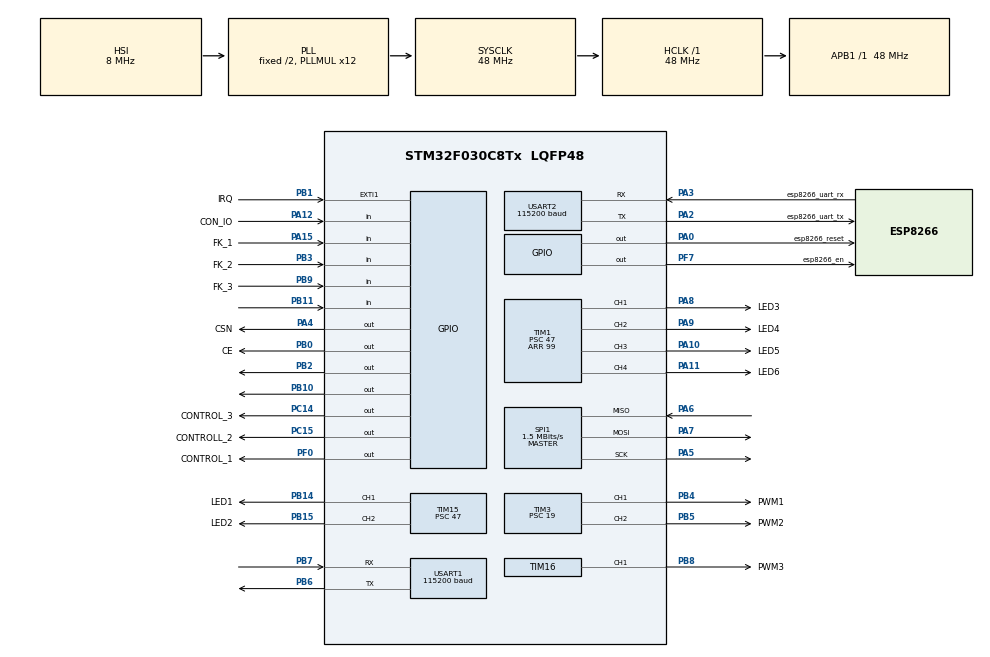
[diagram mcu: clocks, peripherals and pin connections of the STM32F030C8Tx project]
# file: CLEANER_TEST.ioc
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Dma.Request0=USART1_RX
Dma.Request1=USART2_RX
Dma.USART1_RX.0.Direction=DMA_PERIPH_TO_MEMORY
Dma.USART1_RX.0.Instance=DMA1_Channel3
Dma.USART1_RX.0.MemDataAlignment=DMA_MDATAALIGN_BYTE
Dma.USART1_RX.0.MemInc=DMA_MINC_ENABLE
Dma.USART1_RX.0.Mode=DMA_CIRCULAR
Dma.USART1_RX.0.PeriphDataAlignment=DMA_PDATAALIGN_BYTE
Dma.USART1_RX.0.PeriphInc=DMA_PINC_DISABLE
Dma.USART1_RX.0.Priority=DMA_PRIORITY_LOW
Dma.USART2_RX.1.Direction=DMA_PERIPH_TO_MEMORY
Dma.USART2_RX.1.Instance=DMA1_Channel5
Dma.USART2_RX.1.MemDataAlignment=DMA_MDATAALIGN_BYTE
Dma.USART2_RX.1.MemInc=DMA_MINC_ENABLE
Dma.USART2_RX.1.Mode=DMA_CIRCULAR
Dma.USART2_RX.1.PeriphDataAlignment=DMA_PDATAALIGN_BYTE
Dma.USART2_RX.1.PeriphInc=DMA_PINC_DISABLE
Dma.USART2_RX.1.Priority=DMA_PRIORITY_LOW
Mcu.Family=STM32F0
Mcu.Name=STM32F030C8Tx
Mcu.Package=LQFP48
NVIC.DMA1_Channel2_3_IRQn=true\:0\:0\:false\:false\:true
NVIC.DMA1_Channel4_5_IRQn=true\:0\:0\:false\:false\:true
NVIC.TIM14_IRQn=true\:0\:0\:false\:false\:true
PA0.GPIO_Label=esp8266_reset
PA0.Signal=GPIO_Output
PA10.GPIO_Label=LED5
PA10.Signal=S_TIM1_CH3
PA11.GPIO_Label=LED6
PA11.Signal=S_TIM1_CH4
PA12.GPIO_Label=CON_IO
PA12.Signal=GPIO_Input
PA13.Mode=Serial-WireDebug
PA13.Signal=SYS_SWDIO
PA14.Mode=Serial-WireDebug
PA14.Signal=SYS_SWCLK
PA15.GPIO_Label=FK_1
PA15.Signal=GPIO_Input
PA2.GPIO_Label=esp8266_uart_tx
PA2.Mode=Asynchronous
PA2.Signal=USART2_TX
PA3.GPIO_Label=esp8266_uart_rx
PA3.Mode=Asynchronous
PA3.Signal=USART2_RX
PA4.GPIO_Label=CSN
PA4.Signal=GPIO_Output
PA5.Mode=Full_Duplex_Master
PA5.Signal=SPI1_SCK
PA6.Mode=Full_Duplex_Master
PA6.Signal=SPI1_MISO
PA7.Mode=Full_Duplex_Master
PA7.Signal=SPI1_MOSI
PA8.GPIO_Label=LED3
PA8.Signal=S_TIM1_CH1
PA9.GPIO_Label=LED4
PA9.Signal=S_TIM1_CH2
PB0.GPIO_Label=CE
PB0.Signal=GPIO_Output
PB1.GPIO_Label=IRQ
PB1.Signal=GPXTI1
PB10.Signal=GPIO_Output
PB11.Signal=GPIO_Input
PB14.GPIO_Label=LED1
PB14.Signal=S_TIM15_CH1
PB15.GPIO_Label=LED2
PB15.Signal=S_TIM15_CH2
PB2.Signal=GPIO_Output
PB3.GPIO_Label=FK_2
PB3.Signal=GPIO_Input
PB4.GPIO_Label=PWM1
PB4.Signal=S_TIM3_CH1
PB5.GPIO_Label=PWM2
PB5.Signal=S_TIM3_CH2
PB6.Mode=Asynchronous
PB6.Signal=USART1_TX
PB7.Mode=Asynchronous
PB7.Signal=USART1_RX
PB8.GPIO_Label=PWM3
PB8.Signal=S_TIM16_CH1
PB9.GPIO_Label=FK_3
PB9.Signal=GPIO_Input
PC14-OSC32_IN.GPIO_Label=CONTROL_3
PC14-OSC32_IN.Signal=GPIO_Output
PC15-OSC32_OUT.GPIO_Label=CONTROLL_2
PC15-OSC32_OUT.Signal=GPIO_Output
PF0-OSC_IN.GPIO_Label=CONTROL_1
PF0-OSC_IN.Signal=GPIO_Output
PF7.GPIO_Label=esp8266_en
PF7.Signal=GPIO_Output
ProjectManager.HeapSize=0x200
ProjectManager.StackSize=0x400
ProjectManager.TargetToolchain=MDK-ARM V5
RCC.AHBFreq_Value=48000000
RCC.APB1Freq_Value=48000000
RCC.APB1TimFreq_Value=48000000
RCC.HCLKFreq_Value=48000000
RCC.PLLMUL=RCC_PLL_MUL12
RCC.SYSCLKFreq_VALUE=48000000
RCC.SYSCLKSource=RCC_SYSCLKSOURCE_PLLCLK
SH.S_TIM15_CH1.0=TIM15_CH1,PWM Generation1 CH1
SH.S_TIM15_CH2.0=TIM15_CH2,PWM Generation2 CH2
SH.S_TIM16_CH1.0=TIM16_CH1,PWM Generation1 CH1
SH.S_TIM1_CH1.0=TIM1_CH1,PWM Generation1 CH1
SH.S_TIM1_CH2.0=TIM1_CH2,PWM Generation2 CH2
SH.S_TIM1_CH3.0=TIM1_CH3,PWM Generation3 CH3
SH.S_TIM1_CH4.0=TIM1_CH4,PWM Generation4 CH4
SH.S_TIM3_CH1.0=TIM3_CH1,PWM Generation1 CH1
SH.S_TIM3_CH2.0=TIM3_CH2,PWM Generation2 CH2
SPI1.BaudRatePrescaler=SPI_BAUDRATEPRESCALER_32
SPI1.CalculateBaudRate=1.5 MBits/s
SPI1.Mode=SPI_MODE_MASTER
TIM1.Channel-PWM\ Generation2\ CH2=TIM_CHANNEL_2
TIM1.Channel-PWM\ Generation3\ CH3=TIM_CHANNEL_3
TIM1.Channel-PWM\ Generation4\ CH4=TIM_CHANNEL_4
TIM1.Period=99
TIM1.Prescaler=47
TIM1.Pulse-PWM\ Generation1\ CH1=3
TIM1.Pulse-PWM\ Generation2\ CH2=3
TIM1.Pulse-PWM\ Generation3\ CH3=3
TIM1.Pulse-PWM\ Generation4\ CH4=3
TIM14.Period=99
TIM14.Prescaler=47
TIM15.Channel-PWM\ Generation2\ CH2=TIM_CHANNEL_2
TIM15.Period=99
TIM15.Prescaler=47
TIM15.Pulse-PWM\ Generation1\ CH1=3
TIM15.Pulse-PWM\ Generation2\ CH2=3
TIM16.Period=999
TIM16.Prescaler=19
TIM16.Pulse=30
TIM3.Channel-PWM\ Generation2\ CH2=TIM_CHANNEL_2
TIM3.Period=999
TIM3.Prescaler=19
TIM3.Pulse-PWM\ Generation1\ CH1=30
TIM3.Pulse-PWM\ Generation2\ CH2=30
USART1.BaudRate=115200
USART2.BaudRate=115200
VP_TIM14_VS_ClockSourceINT.Mode=Enable_Timer
VP_TIM16_VS_ClockSourceINT.Mode=Enable_Timer
VP_TIM1_VS_ClockSourceINT.Mode=Internal
board=CLEANER_TEST

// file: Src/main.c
/**
  ******************************************************************************
  * File Name          : main.c
  * Description        : Main program body
  ******************************************************************************
  *
  * COPYRIGHT(c) 2016 STMicroelectronics
  *
  * Redistribution and use in source and binary forms, with or without modification,
  * are permitted provided that the following conditions are met:
  *   1. Redistributions of source code must retain the above copyright notice,
  *      this list of conditions and the following disclaimer.
  *   2. Redistributions in binary form must reproduce the above copyright notice,
  *      this list of conditions and the following disclaimer in the documentation
  *      and/or other materials provided with the distribution.
  *   3. Neither the name of STMicroelectronics nor the names of its contributors
  *      may be used to endorse or promote products derived from this software
  *      without specific prior written permission.
  *
  * THIS SOFTWARE IS PROVIDED BY THE COPYRIGHT HOLDERS AND CONTRIBUTORS "AS IS"
  * AND ANY EXPRESS OR IMPLIED WARRANTIES, INCLUDING, BUT NOT LIMITED TO, THE
  * IMPLIED WARRANTIES OF MERCHANTABILITY AND FITNESS FOR A PARTICULAR PURPOSE ARE
  * DISCLAIMED. IN NO EVENT SHALL THE COPYRIGHT HOLDER OR CONTRIBUTORS BE LIABLE
  * FOR ANY DIRECT, INDIRECT, INCIDENTAL, SPECIAL, EXEMPLARY, OR CONSEQUENTIAL
  * DAMAGES (INCLUDING, BUT NOT LIMITED TO, PROCUREMENT OF SUBSTITUTE GOODS OR
  * SERVICES; LOSS OF USE, DATA, OR PROFITS; OR BUSINESS INTERRUPTION) HOWEVER
  * CAUSED AND ON ANY THEORY OF LIABILITY, WHETHER IN CONTRACT, STRICT LIABILITY,
  * OR TORT (INCLUDING NEGLIGENCE OR OTHERWISE) ARISING IN ANY WAY OUT OF THE USE
  * OF THIS SOFTWARE, EVEN IF ADVISED OF THE POSSIBILITY OF SUCH DAMAGE.
  *
  ******************************************************************************
  */
#include "stm32f0xx_hal.h"
#include "dma.h"
#include "spi.h"
#include "tim.h"
#include "usart.h"
#include "gpio.h"

/* USER CODE BEGIN Includes */
#include "Button.h"
#include "Tick.h"
#include "Thread.h"
#include "Dust.h"
#include "CJSON.h"
//#include "esp8266.h"
#include "fpe.h"
#include "stdlib.h"
#include "SIM808.h"
#include "control.h"

/* USER CODE END Includes */

/* USER CODE BEGIN PV */
/* Private variables ---------------------------------------------------------*/
#define FRE_PER_PWM 20
#define FRE_ERROR 30
#define FRE_PWM_MAX_SHIFT 2
#define max(a,b) (((a)<(b))?(b):(a))
#define min(a,b) (((a)>(b))?(b):(a))
#define F_F_1 300  //设为600最好，因为此时不是风扇最低转速，但与最低转速相差不大，故用起来感觉一档转速差别不大；但是其转速差值（更高）是存在的，所以调速程序会起作用
									 //使其在一档时会让净化器度过风扇最初的“PWM波占空比升高不可调速区”，在1档转2档时风俗切换更快（最低档PWM占空比约36%）
#define F_F_2 750
#define F_F_3 1200
#define F_F_4 1650
#define F_F_5 2100
#define F_F_6 2600
/* USER CODE END PV */

void SystemClock_Config(void);

/* USER CODE BEGIN PFP */
/* Private function prototypes -----------------------------------------------*/
/**********************wifi***************************/
//#define getSetting(name) (name?name:name##Default)
//__IO uint32_t g_main_wifi_interval = 600;

//#define AUTO_POWEROFF 1
//#define DEBUG_MODE 0
//#define SYSTEM_AUTOPOFF_MS 600000
//#define RESET_WHILE_NO_DATEGET 60000

//#define FPE_UID_ADDRESS 0x00110000

//#define FPE_NEVERUSED_ADDRESS 0x00001000
//#define MAIN_STATUS_ADDRESS 0x00000100
//#define PM_RATIO_ADDRESS 0x00000200

//#define COMPRESS_BMP 0

////extern __IO uint8_t g_main_status;

//uint32_t g_main_lastWifiTick = RESET_WHILE_NO_DATEGET;
//uint32_t g_main_pairTick = 0;
//__IO uint8_t g_main_pairToDo = 1;
//char* g_main_udpAddressDefault = "www.hwlantian.com";//"172.28.50.1";//
//char* g_main_udpAddress = NULL;
//uint16_t g_main_udpPortDefault = 59830;
//uint16_t g_main_udpPort = 0;
////char* g_main_uidDefault = "M2-B2-1070";
//char* g_main_uidDefault = "M2";
//char* g_main_uid = NULL;
//__IO uint8_t g_main_ssidToDo = 1;
//__IO uint8_t g_main_neverUsed;
//uint32_t g_main_lastResponseTick = (UINT32_MAX - 5000);

//enum wifi_status
//{
//	WIFI_INIT = 0,
//	WIFI_SMARTING,
//	WIFI_REMOTE_ERROR,
//	WIFI_CONNECTED,
//	WIFI_RETRYING,
//	WIFI_NO_AP,
//	WIFI_SERVER_ACK
//};
//__IO uint8_t g_main_wifi_status = WIFI_NO_AP;

//void wifiSmartLinkStarted(void);
//void pairStart(void);
//void updateWifiStatus(void);
//static void updateStringSetting(char* value, char** pCurrent);
//void wifi_response(void);
//void mainThread(void);
/**************************/

/***************SIM808******************/
#define DEVICE_VERSION "JHQ"
#define getSetting(name) (name?name:name##Default)

char* g_main_udpAddressDefault = "123.57.56.40";//"172.28.50.1";//
char* g_main_udpAddress = NULL;
uint16_t g_main_udpPortDefault = 59830;
uint16_t g_main_udpPort = 0;

uint32_t g_main_uploadDataInterval = UPLOAD_DATA_INTERVAL_MS;

bool g_main_gps_updated = false;
bool g_main_pm25_stable = false;
bool g_main_startSleep = false;

static void updateStringSetting(char* value, char** pCurrent);
void sim808_HandleResponse(void);
void mainThread(void);
void check_sleep(void);

/**************************************/
extern dustvalue_t g_firPM ;//extern外部变量声明时，不需要再初始化

__IO int32_t g_FanFrequency = 600;     //1550<=g_FanFrequency<=5500,单位为(转/min)
__IO int32_t fre_1;
__IO int32_t fre_2;
__IO int32_t fre_3;
__IO double fan = 600;
__IO int mode = 2;
__IO bool power = 1;
__IO bool LEDSwitch;
__IO bool buttonNoise;

//__IO ITStatus types = RESET;
//__IO uint32_t PM2D5=g_firPM.PM2D5V;   //单位为(1/100)ug/m3

enum STATUS_ID
{
	STATUS_MODULE= 0,
	STATUS_BUTTON=1,
	STATUS_WIFI=2,
  STATUS_POWEROFF=3,
//	STATUS_CONTROLED=4,
};
enum STATUS_ID last_g_main_status = STATUS_MODULE;
enum STATUS_ID g_main_status = STATUS_MODULE;
__IO uint8_t g_FanFrequency_wifi = 0;

enum BUTTON_IO
{
	BUTTON_DOME = 1,
	BUTTON_TOUCH = 2,
	BUTTON_NUMBER,
};
enum FAN_STATUS_ID
{
	STATUS_ONE_LEVEL = 0,
	STATUS_TWO_LEVEL = 1,
	STATUS_THREE_LEVEL = 2,
	STATUS_FOUR_LEVEL = 3,
	STATUS_FIVE_LEVEL = 4,
	STATUS_SIX_LEVEL = 5,

};

enum FAN_STATUS_ID FAN_STATUS =STATUS_ONE_LEVEL;

/* USER CODE END PFP */

/* USER CODE BEGIN 0 */
void Fan_init(void);
uint8_t isButtonPressed(uint16_t id);
void LED_UNLIGNT(void);
//void onNomalButtonPressed(void ); //正常选择
//void onDoubleButtonPressed(void );//自动选档
void sim_update_examine(void);
//void onHoldButtonPressed(void );  //wifi配置
void onLongHoldButtonPressed(void );	//关机配置

//void auto_updata_click (void); //click状态下刷新转速和指示灯状态
void auto_updata_module (void);//模块自动调节状态下自动刷新转速和指示灯状态
void auto_updata_wifi(void);
void auto_updata_close(void);
void auto_updata_sim(void);

void fan_detect1(void);
void fan_detect2(void);
void fan_detect3(void);

//static void TransmitChar(char ch)
//{
//USART1->TDR = (ch & (uint8_t)0xFF);
//while((USART1->ISR&UART_FLAG_TC)==0)
//;
//}
//void TransmitString(char * input)
//{
//while(1)
//{
//char ch = *(input++);
//if (ch == '\0')
//{
//break;
//}
//TransmitChar(ch);
//}
//}
//void TransmitDec(uint32_t input)
//{
//uint32_t quotient = 0;
//uint32_t divisor = 1000000000UL;
//uint8_t RightJustfy = 1;
//uint8_t showFirstZeros = 0;
//while(divisor>0)
//{
//quotient = (input)/divisor;
//if (quotient>0 || divisor == 1 || RightJustfy)
//{
//char ch = quotient + '0';
//if ((!showFirstZeros && quotient == 0) && divisor != 1)
//{
//ch = 0x20;
//}
//else
//{
//showFirstZeros = 1;
//}
//TransmitChar(ch);
//input -= quotient*divisor;
//RightJustfy = 1;
//}
//divisor/=x10;
//}
//}
/* USER CODE END 0 */

int main(void)
{

  /* MCU Configuration----------------------------------------------------------*/

  /* Reset of all peripherals, Initializes the Flash interface and the Systick. */
  HAL_Init();

  /* Configure the system clock */
  SystemClock_Config();

  /* Initialize all configured peripherals */
  MX_GPIO_Init();
  MX_DMA_Init();
  MX_TIM1_Init();
  MX_TIM15_Init();
  MX_USART2_UART_Init();
  MX_TIM3_Init();
  MX_TIM14_Init();
  MX_TIM16_Init();
  MX_USART1_UART_Init();
  MX_SPI1_Init();

  /* USER CODE BEGIN 2 */
	tick_init(&htim14);
	thread_init(0,tick_ms());
	fpe_init(62,63); //初始化FLASH

	HAL_TIM_PWM_Start(&htim3,TIM_CHANNEL_1);
	HAL_TIM_PWM_Start(&htim3,TIM_CHANNEL_2);
	HAL_TIM_PWM_Start(&htim16,TIM_CHANNEL_1);
	HAL_TIM_PWM_Start(&htim1,TIM_CHANNEL_1);  //LED3 蓝，初始亮灯
	Fan_init();

	button_init(BUTTON_DOME,isButtonPressed);
//	button_addListener(BUTTON_DOME,BUTTON_STATUS_CLICKED_NO_NEXT,onNomalButtonPressed,0);//正常选择
//	button_addListener(BUTTON_DOME,BUTTON_STATUS_DOUBLE_CLICKED,onDoubleButtonPressed,0);//自动选档
//	button_addListener(BUTTON_DOME,BUTTON_STATUS_HOLD,onHoldButtonPressed,0);						 //wifi配置
	button_addListener(BUTTON_DOME,BUTTON_STATUS_LONG_HOLD,onLongHoldButtonPressed,0);	 //关机配置

	thread_quickAdd(0,button_run,10,0,0);//在程序运行的第一遍是不运行的，是由于execute函数貌似不运行
//	thread_quickAdd(0,auto_updata_click,100,0,0);
	thread_quickAdd(0,auto_updata_module,100,0,0);
//	thread_quickAdd(0,auto_updata_wifi,100,0,0);
	thread_quickAdd(0,auto_updata_close,100,0,0);
	thread_quickAdd(0,dust_update,1000,1,0);
	thread_quickAdd(0,sim_update_examine,1000,1,0);
	thread_quickAdd(0,auto_updata_sim,1000,1,0);

//	thread_quickAdd(0,wifi_response,1000,0,0);//检测是否有服务器传输回来文件（模块同时向主芯片传送），若此传输回来，通过CJSON中的格式解析JSON包，获取数据
//	thread_quickAdd(0,mainThread,1000,0,0);
//	thread_quickAdd(0,esp8266_run,10,1,0);
//	thread_quickAdd(0,updateWifiStatus,1000,1,0);//检查smart link的状态

	thread_quickAdd(0,sim808_HandleResponse,100,0,0); //接受并分析数据
	thread_quickAdd(0,sim808_UpdateStatus,1000,0,0);
	thread_quickAdd(0,mainThread,5000,0,0);
	thread_quickAdd(0,sim808_run,10,0,0);

	tick_add(button_tick,10);
	tick_add(fan_detect1,1);
	tick_add(fan_detect2,1);
	tick_add(fan_detect3,1);//原来认为他会卡住

	tick_start();

	PM2D5_init();
	sim808_init(&huart2);//wait to init successfully.
//	esp8266_init(&huart2);
//	HAL_GPIO_WritePin(GPIOF,GPIO_PIN_7,GPIO_PIN_SET);
  /* USER CODE END 2 */

  /* Infinite loop */
  while (1)
  {

  /* USER CODE BEGIN 3 */
		thread_run(0,tick_ms(),0,0);
  }
  /* USER CODE END 3 */

}

/** System Clock Configuration
*/
void SystemClock_Config(void)
{

  RCC_OscInitTypeDef RCC_OscInitStruct;
  RCC_ClkInitTypeDef RCC_ClkInitStruct;
  RCC_PeriphCLKInitTypeDef PeriphClkInit;

  RCC_OscInitStruct.OscillatorType = RCC_OSCILLATORTYPE_HSI;
  RCC_OscInitStruct.HSIState = RCC_HSI_ON;
  RCC_OscInitStruct.HSICalibrationValue = 16;
  RCC_OscInitStruct.PLL.PLLState = RCC_PLL_ON;
  RCC_OscInitStruct.PLL.PLLSource = RCC_PLLSOURCE_HSI;
  RCC_OscInitStruct.PLL.PLLMUL = RCC_PLL_MUL12;
  RCC_OscInitStruct.PLL.PREDIV = RCC_PREDIV_DIV1;
  HAL_RCC_OscConfig(&RCC_OscInitStruct);

  RCC_ClkInitStruct.ClockType = RCC_CLOCKTYPE_HCLK|RCC_CLOCKTYPE_SYSCLK
                              |RCC_CLOCKTYPE_PCLK1;
  RCC_ClkInitStruct.SYSCLKSource = RCC_SYSCLKSOURCE_PLLCLK;
  RCC_ClkInitStruct.AHBCLKDivider = RCC_SYSCLK_DIV1;
  RCC_ClkInitStruct.APB1CLKDivider = RCC_HCLK_DIV1;
  HAL_RCC_ClockConfig(&RCC_ClkInitStruct, FLASH_LATENCY_1);

  PeriphClkInit.PeriphClockSelection = RCC_PERIPHCLK_USART1;
  PeriphClkInit.Usart1ClockSelection = RCC_USART1CLKSOURCE_PCLK1;
  HAL_RCCEx_PeriphCLKConfig(&PeriphClkInit);

  HAL_SYSTICK_Config(HAL_RCC_GetHCLKFreq()/1000);

  HAL_SYSTICK_CLKSourceConfig(SYSTICK_CLKSOURCE_HCLK);

  /* SysTick_IRQn interrupt configuration */
  HAL_NVIC_SetPriority(SysTick_IRQn, 0, 0);
}

/* USER CODE BEGIN 4 */
void Fan_init(void)
{
		if(g_main_status!=3)
		{
			HAL_GPIO_WritePin(GPIOF,GPIO_PIN_0,GPIO_PIN_SET);//打开风扇
			HAL_GPIO_WritePin(GPIOC,GPIO_PIN_15,GPIO_PIN_SET);
			HAL_GPIO_WritePin(GPIOC,GPIO_PIN_14,GPIO_PIN_SET);
		}
		else
		{
			HAL_GPIO_WritePin(GPIOF,GPIO_PIN_0,GPIO_PIN_RESET);
			HAL_GPIO_WritePin(GPIOC,GPIO_PIN_15,GPIO_PIN_RESET);
			HAL_GPIO_WritePin(GPIOC,GPIO_PIN_14,GPIO_PIN_RESET);
		}
}
uint8_t isButtonPressed(uint16_t id)//返回1和0,1表示按下，0表示未按下。所以当按键正常为1而按下为0时，应该取反
{																		//通过 HAL_GPIO_ReadPin(GPIOA,GPIO_PIN_12)确定按键的按下
	switch(id)
	{
		case BUTTON_DOME:
			return HAL_GPIO_ReadPin(GPIOA,GPIO_PIN_12);
		case BUTTON_NUMBER:
			return 0;
		case BUTTON_TOUCH:
			return 0;
	}
	return 0;
}
void LED_UNLIGNT()    //全灭LED灯
{
	HAL_TIM_PWM_Stop(&htim1,TIM_CHANNEL_1);  //LED3 蓝
	HAL_TIM_PWM_Stop(&htim15,TIM_CHANNEL_1);  //LED1 绿
	HAL_TIM_PWM_Stop(&htim15,TIM_CHANNEL_2);  //LED2 红
	HAL_TIM_PWM_Stop(&htim1,TIM_CHANNEL_4);  //LED6 蓝
	HAL_TIM_PWM_Stop(&htim1,TIM_CHANNEL_2); //LED4 绿
	HAL_TIM_PWM_Stop(&htim1,TIM_CHANNEL_3); //LED5 红
//	HAL_TIM_PWM_Stop(&htim17,TIM_CHANNEL_1);  //LED9 蓝
//	HAL_TIM_PWM_Stop(&htim3,TIM_CHANNEL_1);  //LED7 绿
//	HAL_TIM_PWM_Stop(&htim16,TIM_CHANNEL_1);  //LED8 红
}

//void onNomalButtonPressed()      //正常选择
//{
//	if (g_main_status==1)                    //只有在为正常按键模式下，才会有响应
//	{
//		if (FAN_STATUS<5)
//			FAN_STATUS++;
//		else
//			FAN_STATUS=STATUS_ONE_LEVEL;
//	}
//}

//void onDoubleButtonPressed( )     	  //自动选档
//{
////	status_change(1);
//	if(g_main_status<2)//若小于等于2，则会使g_main_status存在=3的状态
//		{	g_main_status++;
//			g_FanFrequency=F_F_1;
//		}
//	else if (g_main_status==2)
//		{	g_main_status=STATUS_MODULE;
//			g_FanFrequency=F_F_1;
//		}
//}

void sim_update_examine(void)
{
	if(power == 0)
	{
		g_main_status = STATUS_POWEROFF;
	}
	else if(power == 1)
	{
		if(mode == 1)
		{
			g_main_status = STATUS_BUTTON;
		}
		else if (mode == 2)
		{
			g_main_status = STATUS_MODULE;
		}

	}
}

//void onHoldButtonPressed(void ) //wifi配置
//{
////	status_change(2);
//	if (g_main_status == 2)//
//	{
////		g_FanFrequency = 0; //使转速为零，确保wifi的状态监测及处理不会在wifi smart link状态下亮表示转速的灯
//		esp8266_smart(60000);	//只是配置wifi，与pair配对是完全不同的两个过程；按照方式3模块通讯，若通讯成功，则置wifi配置位为1.g_esp8266_smartTick是用来作为超时限定的
//													//注意：与pair配对无关
//		updateWifiStatus();   //可删去，只是起连通wifi后迅速刷新状态的作用
//	}
//}

void onLongHoldButtonPressed(void)
{
		if(g_main_status!=3)
		{
			last_g_main_status=g_main_status;
			g_main_status=STATUS_POWEROFF;
		}
		else
		{
			g_main_status = last_g_main_status;
		}
}

void auto_updata_module (void)
{
//	HAL_GetTick();
	if(g_main_status == 0)	         	//模块自动档函数持续运行，直到再次双击使g_main_status改变
	{																	//锁定为模块自动调节状态，单独按一下无响应（状态互换加上状态选取，选取在互换后为1的状态运行模块自动档函数）
		LED_UNLIGNT();                  //只有在id为1的情况，也就是双击模式开启的情况下，每次更新LED状态前都有重置一下
		HAL_GPIO_WritePin(GPIOF,GPIO_PIN_0,GPIO_PIN_SET);//打开风扇
		HAL_GPIO_WritePin(GPIOC,GPIO_PIN_15,GPIO_PIN_SET);
		HAL_GPIO_WritePin(GPIOC,GPIO_PIN_14,GPIO_PIN_SET);
		if (g_firPM.PM2D5V<=3500)
			{
				g_FanFrequency=F_F_1;
				HAL_TIM_PWM_Start(&htim1,TIM_CHANNEL_1);  //LED3 蓝
			}
		else if(g_firPM.PM2D5V<=7500 &&g_firPM.PM2D5V>3500)
			{
				g_FanFrequency=F_F_2;
				HAL_TIM_PWM_Start(&htim1,TIM_CHANNEL_1);  //LED3 蓝
				HAL_TIM_PWM_Start(&htim1,TIM_CHANNEL_4);  //LED6 蓝
			}
		else if(g_firPM.PM2D5V<=11500 && g_firPM.PM2D5V>7500)
			{
				g_FanFrequency=F_F_3;
				HAL_TIM_PWM_Start(&htim15,TIM_CHANNEL_1); //LED1 绿
			}
		else if(g_firPM.PM2D5V<=15000 && g_firPM.PM2D5V>11500)
			{
				g_FanFrequency=F_F_4;
				HAL_TIM_PWM_Start(&htim15,TIM_CHANNEL_1); //LED1 绿
				HAL_TIM_PWM_Start(&htim1,TIM_CHANNEL_2);  //LED4 绿
			}
		else if(g_firPM.PM2D5V<=25000 && g_firPM.PM2D5V>15000)
			{
				g_FanFrequency=F_F_5;
				HAL_TIM_PWM_Start(&htim15,TIM_CHANNEL_2); //LED2 红
			}
		else
			{
				g_FanFrequency=F_F_6;
				HAL_TIM_PWM_Start(&htim15,TIM_CHANNEL_2); //LED2 红
				HAL_TIM_PWM_Start(&htim1,TIM_CHANNEL_3);  //LED5 红
			}
	}
}

//void auto_updata_click (void)
//{
//	if (g_main_status==1)                    //只有在为正常按键模式下，才会有响应
//	{
//		LED_UNLIGNT();
//		HAL_GPIO_WritePin(GPIOF,GPIO_PIN_0,GPIO_PIN_SET);//打开风扇
//		HAL_GPIO_WritePin(GPIOC,GPIO_PIN_15,GPIO_PIN_SET);
//		HAL_GPIO_WritePin(GPIOC,GPIO_PIN_14,GPIO_PIN_SET);

//		switch(FAN_STATUS)
//		{
//			case 0:g_FanFrequency=F_F_1;
//							HAL_TIM_PWM_Start(&htim1,TIM_CHANNEL_1);  //LED3 蓝
//							break;
//			case 1:g_FanFrequency=F_F_2;
//							HAL_TIM_PWM_Start(&htim1,TIM_CHANNEL_1);  //LED3 蓝
//							HAL_TIM_PWM_Start(&htim1,TIM_CHANNEL_4);  //LED6 蓝
//							break;
//			case 2:g_FanFrequency=F_F_3;
//							HAL_TIM_PWM_Start(&htim15,TIM_CHANNEL_1); //LED1 绿
//							break;
//			case 3:g_FanFrequency=F_F_4;
//							HAL_TIM_PWM_Start(&htim15,TIM_CHANNEL_1); //LED1 绿
//							HAL_TIM_PWM_Start(&htim1,TIM_CHANNEL_2);  //LED4 绿
//							break;
//			case 4:g_FanFrequency=F_F_5;
//							HAL_TIM_PWM_Start(&htim15,TIM_CHANNEL_2); //LED2 红
//							break;
//			case 5:g_FanFrequency=F_F_6;
//							HAL_TIM_PWM_Start(&htim15,TIM_CHANNEL_2); //LED2 红
//							HAL_TIM_PWM_Start(&htim1,TIM_CHANNEL_3);  //LED5 红
//							break;
//		}
//	}
//}

//void auto_updata_wifi(void)
//{
//	if(g_main_status == 2)
//	{
//		LED_UNLIGNT();
//		HAL_GPIO_WritePin(GPIOF,GPIO_PIN_0,GPIO_PIN_SET);//打开风扇
//		HAL_GPIO_WritePin(GPIOC,GPIO_PIN_15,GPIO_PIN_SET);
//		HAL_GPIO_WritePin(GPIOC,GPIO_PIN_14,GPIO_PIN_SET);//这里若不使控制引脚（control）置一，则其为浮空，不能使风扇转动
//		g_FanFrequency == g_FanFrequency_wifi;
//
//		switch(g_FanFrequency)
//		{
//			case F_F_1:
//							HAL_TIM_PWM_Start(&htim1,TIM_CHANNEL_1);  //LED3 蓝
//							break;
//			case F_F_2:
//							HAL_TIM_PWM_Start(&htim1,TIM_CHANNEL_1);  //LED3 蓝
//							HAL_TIM_PWM_Start(&htim1,TIM_CHANNEL_4);  //LED6 蓝
//							break;
//			case F_F_3:
//							HAL_TIM_PWM_Start(&htim15,TIM_CHANNEL_1); //LED1 绿
//							break;
//			case F_F_4:
//							HAL_TIM_PWM_Start(&htim15,TIM_CHANNEL_1); //LED1 绿
//							HAL_TIM_PWM_Start(&htim1,TIM_CHANNEL_2);  //LED4 绿
//							break;
//			case F_F_5:
//							HAL_TIM_PWM_Start(&htim15,TIM_CHANNEL_2); //LED2 红
//							break;
//			case F_F_6:
//							HAL_TIM_PWM_Start(&htim15,TIM_CHANNEL_2); //LED2 红
//							HAL_TIM_PWM_Start(&htim1,TIM_CHANNEL_3);  //LED5 红
//							break;
//		}
//	}
//}

void auto_updata_close(void)
{
	if(g_main_status == 3)
	{
		LED_UNLIGNT();
		HAL_GPIO_WritePin(GPIOF,GPIO_PIN_0,GPIO_PIN_RESET);
		HAL_GPIO_WritePin(GPIOC,GPIO_PIN_15,GPIO_PIN_RESET);
		HAL_GPIO_WritePin(GPIOC,GPIO_PIN_14,GPIO_PIN_RESET);
	}
}

void auto_updata_sim(void)
{
	if(g_main_status == STATUS_BUTTON)
	{
		LED_UNLIGNT();
		HAL_GPIO_WritePin(GPIOF,GPIO_PIN_0,GPIO_PIN_SET);//打开风扇
		HAL_GPIO_WritePin(GPIOC,GPIO_PIN_15,GPIO_PIN_SET);
		HAL_GPIO_WritePin(GPIOC,GPIO_PIN_14,GPIO_PIN_SET);//这里若不使控制引脚（control）置一，则其为浮空，不能使风扇转动
		g_FanFrequency = fan;

		if (g_FanFrequency<=F_F_1)
			{
				HAL_TIM_PWM_Start(&htim1,TIM_CHANNEL_1);  //LED3 蓝
			}
		else if(g_FanFrequency<=F_F_2)
			{
				HAL_TIM_PWM_Start(&htim1,TIM_CHANNEL_1);  //LED3 蓝
				HAL_TIM_PWM_Start(&htim1,TIM_CHANNEL_4);  //LED6 蓝
			}
		else if(g_FanFrequency<=F_F_3)
			{
				HAL_TIM_PWM_Start(&htim15,TIM_CHANNEL_1); //LED1 绿
			}
		else if(g_FanFrequency<=F_F_4)
			{
				HAL_TIM_PWM_Start(&htim15,TIM_CHANNEL_1); //LED1 绿
				HAL_TIM_PWM_Start(&htim1,TIM_CHANNEL_2);  //LED4 绿
			}
		else if(g_FanFrequency<=F_F_5)
			{
				HAL_TIM_PWM_Start(&htim15,TIM_CHANNEL_2); //LED2 红
			}
		else
			{
				HAL_TIM_PWM_Start(&htim15,TIM_CHANNEL_2); //LED2 红
				HAL_TIM_PWM_Start(&htim1,TIM_CHANNEL_3);  //LED5 红
			}
	}
}

void fan_detect1()
{
static uint32_t all = 0;
static uint32_t times = 0;
static uint16_t lasthigh = 0;
uint16_t high = 0;

if((GPIOA->IDR & GPIO_PIN_15) == 0)
{

	high = 1;
}
else
{
	high = 0;
}
all ++;
if(high != lasthigh )
{
	lasthigh = high;  //从这里lasthign得到了上一个hign的值
	times ++;                  //若想知道程序运行处的时间，可以看TIM1定时器的CNT寄存器，由于TIM1的预分频器PSC=47，则可计算为1S/48M*(47+1)=1us
														 //即CNT为程序运行微秒数
}
if(times == 8 || all > 2000)//此处接收反馈回来的信号，times在反馈信号发生一次转变时加一，即以此时的风扇频率初始状态50%——108Hz为例，
														//一次反转时间为1S/108/2=4.6ms；而all值取决于：tick_add(fan_detect1,1)中的1代表100us（由tim14的47、99可知），也就是说一次检测耗时100us；
														//这里的all是8次转换的最多耗时，由示波器可知在最低档，8次转换最多耗时200ms，也就是200*1000/100=2000次检测，故all=2000；
{
	//int32_t fre = times*UINT32_C(500)/all;//所测出的频率与实际输入频率比值约为5
	fre_1 = times*UINT32_C(150000)/all;//公式的确定是由：反馈波一次转换耗时=all*100/times  ==>  风扇转一周耗时=all*100*4/times  ==》  风扇60秒转的周数=60*1 000 000/风扇转一周耗时
																	 //===>>fre=150000*times/all

	times = 0;
	all = 0;
	__IO int32_t deltaFre = (int32_t)g_FanFrequency - fre_1;//为了达到所需要的频率g_FanFrequency,需要从实际频率fre改变的频率值为deltaFre
//	static int32_t deltaFre_last = 0;
	__IO int32_t ccr = TIM3->CCR1;                            //而g_FanFrequency为要求的风扇转速（转/min），即*2/60
	__IO int32_t total = TIM3->ARR;
//	TransmitDec(fre);
//	TransmitChar(',');
//	TransmitDec(ccr);
//	TransmitChar('\n');
//deltaFreSum += deltaFre;
//	if (abs(deltaFre)>50)
//	{
//	ccr += ( deltaFre * 1  ) /FRE_PER_PWM ;
//	}
//	deltaFreLast = deltaFre;
//	ccr = 459;
//	else
//	{
//	ccr += ( deltaFre * 1 + deltaFreSum*0.01) /FRE_PER_PWM ;
//	}

	if(deltaFre < -FRE_ERROR)
	{

		//deltaFre +=FRE_PER_PWM - FRE_ERROR;
//		if ((deltaFre)>-200)
//		{
//		  int32_t KdErr = deltaFre + deltaFre_last;
//		ccr +=max((deltaFre+KdErr)/FRE_PER_PWM,-(total>>FRE_PWM_MAX_SHIFT));//-(total>>FRE_PWM_MAX_SHIFT)限制风扇一次调速不可超过1/4个ARR
			ccr +=max(deltaFre/FRE_PER_PWM,-(total>>FRE_PWM_MAX_SHIFT));//-(total>>FRE_PWM_MAX_SHIFT)限制风扇一次调速不可超过1/4个ARR
//		}
//		else
//		{
//		ccr +=max(deltaFre/FRE_PER_PWM,-(total>>FRE_PWM_MAX_SHIFT));
//		}

//		ccr -=min(deltaFre/FRE_PER_PWM-1,(total>>FRE_PWM_MAX_SHIFT));
		// deltaFre +=49;
		// ccr +=deltaFre/50;
	}
	else if (deltaFre > FRE_ERROR)
	{
//		if ((deltaFre)<200)
//		{
//		 int32_t KdErr = deltaFre + deltaFre_last;
			ccr +=min((deltaFre)/FRE_PER_PWM,total>>FRE_PWM_MAX_SHIFT);
//		}
//		else
//		{
//			__IO int32_t a = (deltaFre)/FRE_PER_PWM;
//			__IO int32_t b = (total>>FRE_PWM_MAX_SHIFT);
//			ccr +=min(a,b);
//		}
		//deltaFre -=FRE_PER_PWM - FRE_ERROR;
	//	ccr +=min(-deltaFre/FRE_PER_PWM,total>>FRE_PWM_MAX_SHIFT);
		// deltaFre -=40;
		// ccr +=deltaFre/50;
	}
//	deltaFre_last = deltaFre;
	ccr = max(0,min(total,ccr));
	TIM3->CCR1= ccr ;
	}
}

void fan_detect2()
{
static uint32_t all = 0;
static uint32_t times = 0;
static uint16_t lasthigh = 0;
uint16_t high = 0;

if((GPIOB->IDR & GPIO_PIN_3) == 0)
{

	high = 1;
}
else
{
	high = 0;
}
all ++;
if(high != lasthigh )
{
	lasthigh = high;  //从这里lasthign得到了上一个hign的值
	times ++;                  //若想知道程序运行处的时间，可以看TIM1定时器的CNT寄存器，由于TIM1的预分频器PSC=47，则可计算为1S/48M*(47+1)=1us
														 //即CNT为程序运行微秒数
}
if(times == 8 || all > 2000)//此处接收反馈回来的信号，times在反馈信号发生一次转变时加一，即以此时的风扇频率初始状态50%——108Hz为例，
														 //一次反转时间为1S/108/2=4.6ms；而all在
{
	fre_2 = times*UINT32_C(150000)/all;
	times = 0;
	all = 0;
	// int32_t targetFre = 4000;
	__IO int32_t deltaFre = (int32_t)g_FanFrequency - fre_2 ;//为了达到所需要的频率g_FanFrequency,需要从实际频率fre改变的频率值为deltaFre
//	static int32_t deltaFre_last = 0;
	__IO int32_t ccr = TIM3->CCR2 ;                            //而g_FanFrequency为要求的风扇转速（转/min），即*2/60
	__IO int32_t total = TIM3->ARR;

	if(deltaFre < -FRE_ERROR)
	{
//		  int32_t KdErr = deltaFre + deltaFre_last;
//		  ccr +=max((deltaFre+KdErr)/FRE_PER_PWM,-(total>>FRE_PWM_MAX_SHIFT));//-(total>>FRE_PWM_MAX_SHIFT)限制风扇一次调速不可超过1/4个ARR
			ccr +=max(deltaFre/FRE_PER_PWM,-(total>>FRE_PWM_MAX_SHIFT));//-(total>>FRE_PWM_MAX_SHIFT)限制风扇一次调速不可超过1/4个ARR
	}
	else if (deltaFre > FRE_ERROR)
	{
//		 int32_t KdErr = deltaFre + deltaFre_last;
		 ccr +=min((deltaFre)/FRE_PER_PWM,total>>FRE_PWM_MAX_SHIFT);
	}
	ccr = max(0,min(total,ccr));
	TIM3->CCR2 = ccr ;
	}
}

void fan_detect3()
{
static uint32_t all = 0;
static uint32_t times = 0;
static uint16_t lasthigh = 0;
uint16_t high = 0;

if((GPIOB->IDR & GPIO_PIN_9) == 0)
{

	high = 1;
}
else
{
	high = 0;
}
all ++;
if(high != lasthigh )
{
	lasthigh = high;  //从这里lasthign得到了上一个hign的值
	times ++;                  //若想知道程序运行处的时间，可以看TIM1定时器的CNT寄存器，由于TIM1的预分频器PSC=47，则可计算为1S/48M*(47+1)=1us
														 //即CNT为程序运行微秒数
}
if(times == 8 || all > 2000)//此处接收反馈回来的信号，times在反馈信号发生一次转变时加一，即以此时的风扇频率初始状态50%——108Hz为例，
														 //一次反转时间为1S/108/2=4.6ms；而all在
{
	fre_3 = times*UINT32_C(150000)/all;
	times = 0;
	all = 0;
	__IO int32_t deltaFre = (int32_t)g_FanFrequency - fre_3;//为了达到所需要的频率g_FanFrequency,需要从实际频率fre改变的频率值为deltaFre
//	static int32_t deltaFre_last = 0;
	__IO int32_t ccr = TIM16->CCR1 ;                            //而g_FanFrequency为要求的风扇转速（转/min），即*2/60
	__IO int32_t total = TIM16->ARR;

	if(deltaFre < -FRE_ERROR)
	{
//		  int32_t KdErr = deltaFre + deltaFre_last;
//		  ccr +=max((deltaFre+KdErr)/FRE_PER_PWM,-(total>>FRE_PWM_MAX_SHIFT));//-(total>>FRE_PWM_MAX_SHIFT)限制风扇一次调速不可超过1/4个ARR
			ccr +=max(deltaFre/FRE_PER_PWM,-(total>>FRE_PWM_MAX_SHIFT));//-(total>>FRE_PWM_MAX_SHIFT)限制风扇一次调速不可超过1/4个ARR
	}
	else if (deltaFre > FRE_ERROR)
	{
//		 int32_t KdErr = deltaFre + deltaFre_last;
		 ccr +=min((deltaFre)/FRE_PER_PWM,total>>FRE_PWM_MAX_SHIFT);
	}
	ccr = max(0,min(total,ccr));
	TIM16->CCR1 = ccr ;
	}
}

//void updateWifiStatus(void)
//{
//	if (g_main_status == STATUS_POWEROFF) //POWEROFF是 是表示切断电源应属于枚举类型STATUS_ID的一员，而不是像onPowerButtonPressed这个函数一样相应wifi的启动
//	{
//		return;
//	}
//	uint8_t status = esp8266_getStatus();
//if (g_main_status == STATUS_WIFI)
//{
//	LED_UNLIGNT();
//	switch(status)
//	{
//		case 1: //smart link
//		{
//	HAL_TIM_PWM_Start(&htim1,TIM_CHANNEL_1);  //LED3 蓝
//	HAL_TIM_PWM_Start(&htim1,TIM_CHANNEL_4);  //LED6 蓝
//		//	setLedList(LED_LIST_RAINBOW,sizeof(LED_LIST_RAINBOW)>>2,5000);
//			g_main_wifi_status = WIFI_SMARTING;
//			break;
//		}
//		case 3: //connceted
//		case 4: //unconncet
//		{
//
//			if (g_main_lastResponseTick+5000 - tick_ms() < (UINT32_MAX>>1))//服务器最后回复模块的时间与现在的时间相差不到5秒，即5000ms；随后回复时刻加上五秒减去现在时刻若为正值，则正常，
//																																		 //	若为负值，其补码为无穷大，故这样<(UINT32_MAX>>1)
//			{
////				if (g_main_requestLedList && g_main_requestLedListSize && g_main_requestLedListTime)
////				{
////					setLedList(g_main_requestLedList,g_main_requestLedListSize,g_main_requestLedListTime);
////				}
////				else
////				{
////					setLedList(LED_LIST_GREEN_BREATH,sizeof(LED_LIST_GREEN_BREATH)>>2,3000);
////				}
//				g_main_wifi_status = WIFI_SERVER_ACK;
//				HAL_TIM_PWM_Start(&htim15,TIM_CHANNEL_1);  //LED1 绿
//				HAL_TIM_PWM_Start(&htim15,TIM_CHANNEL_2);  //LED2 红
//				HAL_TIM_PWM_Start(&htim1,TIM_CHANNEL_1);   //LED3 蓝
//
//				if ( g_main_neverUsed )
//				{
//					fpe_write(FPE_NEVERUSED_ADDRESS,0);
//					g_main_neverUsed = 0;
//				}
//			}
//			else
//			{
//				if (status == 3)
//				{

//				g_main_wifi_status = WIFI_CONNECTED;
//				HAL_TIM_PWM_Start(&htim15,TIM_CHANNEL_1);  //LED1 绿
//				}
//				else
//				{
//				g_main_wifi_status = WIFI_REMOTE_ERROR;
//				HAL_TIM_PWM_Start(&htim15,TIM_CHANNEL_2);  //LED2 红
//				}
//				//setLedList(LED_LIST_YELLOW_BLINK,sizeof(LED_LIST_YELLOW_BLINK)>>2,200);
//
//			}
//			break;
//		}
//		case 5: //no wifi
//		{
//			g_main_wifi_status = WIFI_NO_AP;
//			HAL_TIM_PWM_Start(&htim1,TIM_CHANNEL_3); //LED5 红
//			//setLedList(LED_LIST_BLUE_BLINK,sizeof(LED_LIST_BLUE_BLINK)>>2,200);
//			break;
//		}
//		case 2: //no wifi
//		{
//			g_main_wifi_status = WIFI_REMOTE_ERROR;;
//			//setLedList(LED_LIST_BLUE_BLINK,sizeof(LED_LIST_BLUE_BLINK)>>2,200);
//			break;
//		}
//	}
//}
//}
//static void updateStringSetting(char* value, char** pCurrent)
//{
//	if (*pCurrent)
//	{
//		free(*pCurrent);
//	}
//	if (strlen(value) == 0)
//	{
//		*pCurrent = NULL;
//	}
//	else
//	{
//		char* copy = malloc(strlen(value)+1);
//		if (copy)
//		{
//			strcpy(copy,value);
//			*pCurrent = copy;
//		}
//	}
//}

//void wifi_response(void)                     //解析wifi模块向板子发送的CJSON包
//{
//	if (g_main_status == STATUS_POWEROFF)
//	{
//		return;
//	}
//	char* receive = esp8266_getReceiveString();
//	if (!receive)
//	{
//		if(tick_ms() - g_main_lastWifiTick < (UINT32_MAX>>1))
//		{
//			if (!esp8266_smarting())//
//			{
//				esp8266_reset();
//				g_main_lastWifiTick = tick_ms() + RESET_WHILE_NO_DATEGET;
//			}
//		}
//	}
//	else
//	{
//		g_main_lastWifiTick = tick_ms() + RESET_WHILE_NO_DATEGET;
//	}
//	if (receive)
//	{
//		cJSON* json = cJSON_Parse(receive);
//		if(json)
//		{
//			g_main_lastResponseTick = tick_ms();
//			cJSON* child;
//			child = cJSON_GetObjectItem(json,"udpAddress");
//			if (child)
//			{
//				updateStringSetting(child->valuestring, &g_main_udpAddress);
//			}
//
//			child = cJSON_GetObjectItem(json,"udpPort");
//			if (child)
//			{
//				g_main_udpPort = child->valueint;
//			}
////			/************接收从WIFI模块传输过来的风扇转速************/
////			child = cJSON_GetObjectItem(json,"fanFrequency");          //得出风扇转速，wifi应该在传输中断后风扇转速不再更新
////			if (child)
////			{
////				g_FanFrequency = child->valueint;
////			}
////			/*****************************/
//			child = cJSON_GetObjectItem(json,"setUid");
//			if (child)
//			{
//				updateStringSetting(child->valuestring, &g_main_uid);
//				char* uid = child->valuestring;
//				fpe_writeString(FPE_UID_ADDRESS,uid);//记录UID到单片机内存中，再次启动就提取就行
//			}
//			if (g_main_pairToDo)
//			{
//				child = cJSON_GetObjectItem(json,"pairConfirmed");
//				if (child)
//				{
//					int16_t confirmed = child->valueint;
//					int16_t pairTick = tick_ms() - g_main_pairTick;
//					if (abs(confirmed-pairTick)<1000)
//					{
//						g_main_pairToDo = 0;
//					}
//				}
//			}
//			if (g_main_ssidToDo)
//			{
//				child = cJSON_GetObjectItem(json,"ssidConfirmed");
//				if (child)
//				{
//					char* confirmed = child->valuestring;
//					char* ssid = esp8266_getSSID();
//					if (strcmp(confirmed,ssid) == 0)
//					{
//						g_main_ssidToDo = 0;
//					}
//				}
//			}
//
//						child = cJSON_GetObjectItem(json,"setInterval");
//			uint32_t interval = 0;
//			if (child)
//			{
//				interval = child->valueint;//1 to 10s
//			}
//			if (interval>=1000)
//			{
//				if (interval != g_main_wifi_interval)// || g_main_wifi_status != WIFI_CONNECT)WIFI_CONNECTED
//				{
//					g_main_wifi_interval = interval;
//					thread_remove(0,mainThread);
//					thread_t* t = (thread_t*) malloc(sizeof(thread_t));
//					t->priority = 0;
//					t->remainTimes = 0;
//					t->executeTick = tick_ms()+g_main_wifi_interval;
//					t->function = mainThread;
//					t->intervalTick = g_main_wifi_interval;
//					t->minNeedTick = 0;
//					t->next = NULL;
//					if (thread_add(0,t,esp8266_run) == 0)
//					{
//						free(t);
//					}
//				//	g_main_wifi_getDelay = 5000;
//				//	g_main_wifi_triggerTick = tick_ms()+g_main_wifi_interval+g_main_wifi_getDelay;
//				}
//			}
//			cJSON_Delete(json);
//		}
//		free(receive);
//	}
//}

//void wifiSmartLinkStarted(void)
//{
//	g_main_ssidToDo = 1;
////	pairStart();
//}

//void pairStart(void)
//{
//	g_main_pairToDo = 1;
//	g_main_pairTick = tick_ms();

//}

//void mainThread(void)
//{
//	if (g_main_status == STATUS_POWEROFF)
//	{
//		return;
//	}
//	//th_update();
//	cJSON* json = cJSON_CreateObject();																	//SSID为密码，此处密码验证，建立CJSON包
//	if (json)
//	{
//		cJSON_AddStringToObject(json,"devId",getSetting(g_main_uid));
////		cJSON_AddStringToObject(json,"ver",DEVICE_VERSION);          //应该是显示相关的
////		if (g_main_power)
////		{
//			cJSON_AddNumberToObject(json,"pm2d5",0+g_firPM.PM2D5V/100);
//			cJSON_AddNumberToObject(json,"pm1d0",0+g_firPM.PM1D0V/100);
//			cJSON_AddNumberToObject(json,"pm10",0+g_firPM.PM10V/100);
////			cJSON_AddNumberToObject(json,"ch2o",0);
//////			cJSON_AddNumberToObject(json,"temp",g_main_temp/100.0);
//////			cJSON_AddNumberToObject(json,"hum",g_main_humidity/100.0);
////		cJSON_AddNumberToObject(json,"check",atoi(g_main_uid + strlen(g_main_uid)-2));//+g_main_PM2_5Value/100.0,这里应该只是上传，主要是uid上传，不需要更改太多
////		}
//		char* ssid = esp8266_getSSID();//这里上传SSID是为了让服务器对比模块上传的SSID和手机上传的SSID,来达到只pair相同的SSID下pairtick相差5秒的一对，但如果是两个局域网叫的名字一样呢
//		if (ssid)
//		{
//			cJSON_AddStringToObject(json,"ssid",ssid);
//		}
//		if (g_main_pairToDo)//这里是模块与手机的配对，由于mainThread函数1秒运行一次，而pairTick > 120000是2分钟，所以这个函数的运行情况是不断变化的当pairtick大于两分钟时，
//		{										//停止pair(置g_main_pairToDo为0)，并且从发送的CJSON包中去掉"pair"字符，服务器不再进行配对
//			uint32_t pairTick = tick_ms() - g_main_pairTick;
//			if (pairTick > 120000)
//			{
//				g_main_pairToDo = 0;
//			}
//			else
//			{
//				cJSON_AddNumberToObject(json,"pair",pairTick);
//			}
//		}
//		cJSON_AddNumberToObject(json,"systemTick",tick_ms());
//		char * str = cJSON_PrintUnformatted(json);  ///从这里起是在干什么？？？cJSON包转化为字符串，模块只能接受到字符串
//		cJSON_Delete(json);//cJSON包转化为字符串后删除cJSON包
//		if (ssid)//ssid每次都要发给服务器，以确定手机模块在同一个wifi下，手机才能拿到数据
//		{
//			free(ssid);
//		}
//		if (str)
//		{
//			uint16_t length = strlen(str);
//			char* buffer = malloc(length+2);
//			if (buffer)
//			{
//				sprintf(buffer,"%s\n",str);
//				char* address = getSetting(g_main_udpAddress);//?g_main_udpAddress:g_main_udpAddressDefault;不存在就使用默认的值
//				uint16_t port = getSetting(g_main_udpPort);//g_main_udpPort!=0?g_main_udpPort:g_main_udpPortDefault;
//				esp8266_udp(buffer,address,port);
//				free(buffer);
//			}
//			free(str);
//		}
//	}
//
//}

static void updateStringSetting(char* value, char** pCurrent)
{
	if (*pCurrent)
	{
		free(*pCurrent);
	}
	if (strlen(value) == 0)
	{
		*pCurrent = NULL;
	}
	else
	{
		char* copy = malloc(strlen(value)+1);
		if (copy)
		{
			strcpy(copy,value);
			*pCurrent = copy;
		}
	}
}

void sim808_HandleResponse(void)
{
	char* receive = sim808_getReceiveString();
//	if (!receive)
//	{
//		if(tick_ms() - g_main_lastWifiTick < (UINT32_MAX>>1))
//		{
//			if (!esp8266_smarting())
//			{
//				esp8266_reset();
//				g_main_lastWifiTick = tick_ms() + RESET_WHILE_NO_DATEGET;
//			}
//		}
//	}
//	else
//	{
//		g_main_lastWifiTick = tick_ms() + RESET_WHILE_NO_DATEGET;
//	}
	if (receive)////////////////////////111111111111111
	{
		cJSON* json = cJSON_Parse(receive);
		if(json)
		{
//			g_main_lastResponseTick = tick_ms();

			cJSON* status;
			status = cJSON_GetObjectItem(json,"status");
			if (status)
			{
				cJSON* child;

				child = cJSON_GetObjectItem(status,"udpAddress");
				if (child)
				{
					updateStringSetting(child->valuestring, &g_main_udpAddress);
				}

				child = cJSON_GetObjectItem(status,"udpPort");
				if (child)
				{
					g_main_udpPort = child->valueint;
				}

				child = cJSON_GetObjectItem(status,"power");
				if (child)
				{
					power = child->valueint;
				}

				child = cJSON_GetObjectItem(status,"mode");
				if (child)
				{
					mode = child->valueint;
				}

				child = cJSON_GetObjectItem(status,"fan");
				if (child)
				{
					fan = child->valueint;
				}

//				child = cJSON_GetObjectItem(status,"setInterval");
//				uint32_t interval = 0;
//				if (child)
//				{
//					interval = child->valueint;//1 to 10s
//				}
//				if (interval>1000)
//				{
//	//				interval = interval*SERVER_INTERVAL_MULTIPLE; //server unit (s) to  local unit (ms)
//					if (interval != g_main_uploadDataInterval)// || g_main_wifi_status != WIFI_CONNECT)
//					{
//						g_main_uploadDataInterval = interval;
//						fpe_write(ADDRESS_UPLOAD_INTERVAL_VALUE, ( interval ) );
//						fpe_write(ADDRESS_UPLOAD_INTERVAL_ENSURE, FLAG_FLASH_DATA_ENSURE);
//
//					//	g_main_wifi_getDelay = 5000;
//					//	g_main_wifi_triggerTick = tick_ms()+g_main_uploadDataInterval+g_main_wifi_getDelay;
//					}
//				}
//				cJSON_Delete(status);
			}
			cJSON_Delete(json);
		}
//		g_main_startSleep = true;	//set system to sleep mode
		free(receive);
	}
}

void mainThread(void)
{

	sim808_Info_t sim808_Info = sim808_GetInfo();

//		( (g_main_pm25_stable || tick_ms()>MAX_PM25_MS)	&& ( g_main_gps_updated || tick_ms()>MAX_GPS_MS) )
//	if( !(//wait gps new data until timeout,when time out,we use data in flash if exist
//		( (g_main_pm25_stable || tick_ms()>MAX_PM25_MS)	&& ( sim808_Info.gpsUpdated || tick_ms()>MAX_GPS_MS) )\
//	||(tick_ms()>MAX_WAKE_MS -20000)
//	) )
//	{
//		return;
//	}

	//th_update();

	cJSON* json = cJSON_CreateObject();
	if (json)
	{
		cJSON_AddStringToObject(json,"devId",sim808_Info.IMEI_number);
		cJSON_AddStringToObject(json,"ver",DEVICE_VERSION);

		cJSON_AddNumberToObject(json,"pm2d5",(double)(g_firPM.PM2D5V/100.0));
		cJSON_AddNumberToObject(json,"mode",(int)mode);
		cJSON_AddNumberToObject(json,"fan_1",(double)fre_1);
		cJSON_AddNumberToObject(json,"fan_2",(double)fre_2);
		cJSON_AddNumberToObject(json,"fan_3",(double)fre_3);
		cJSON_AddNumberToObject(json,"power",(bool)power  );
//		cJSON_AddNumberToObject(json,"LEDSwitch",(bool)  );
//		cJSON_AddNumberToObject(json,"buttonNoise",(bool)  );

		cJSON_AddNumberToObject(json,"systemTick",tick_ms());

		char * str = cJSON_PrintUnformatted(json);
		cJSON_Delete(json);

		if (str)
		{
			uint16_t length = strlen(str);
			char* buffer = malloc(length+3);//20160808
			if (buffer)
			{
				sprintf(buffer,"%s\n%c",str,0x1a);//20160808
				char* address = getSetting(g_main_udpAddress);//?g_main_udpAddress:g_main_udpAddressDefault;
				uint16_t port = getSetting(g_main_udpPort);//g_main_udpPort!=0?g_main_udpPort:g_main_udpPortDefault;
				sim808_udp(buffer,address,port);
				free(buffer);
			}
			free(str);
		}
	}

}

void do_sleep(void)
{
//		disable_pm2d5();
		sim808_deinit();
		HAL_Delay(100);                                       //2015-12-7
		HAL_NVIC_SystemReset();
}

void check_sleep(void)
{
	if (g_main_startSleep)//tickms超过该时间时会自动进入睡眠模式, 即使未完成整个流程.
	{
//		if(g_main_battery_voltage < RANGE_RUNTIME_BATTERY_LOW)
//		{
//			fpe_write(ADDRESS_BATTERY_RANGE,RANGE_START_BATTERY_LOW);  //refer to 'charge code', locating beginning of 'main()'function, about line 169.
//		}
		do_sleep();
	}
}
/* USER CODE END 4 */

/************************ (C) COPYRIGHT STMicroelectronics *****END OF FILE****/
